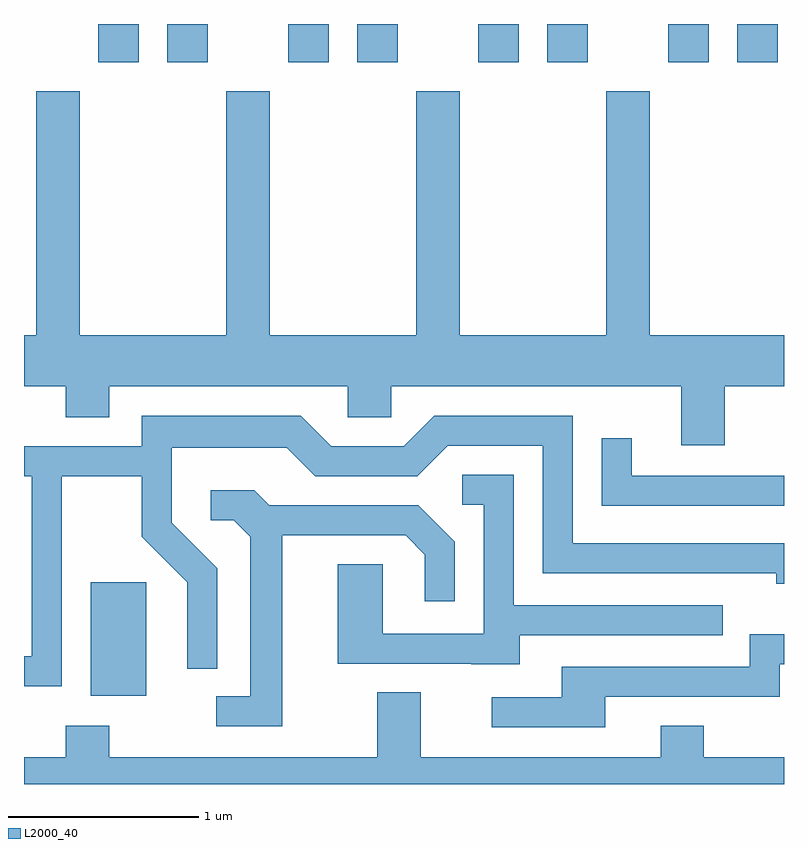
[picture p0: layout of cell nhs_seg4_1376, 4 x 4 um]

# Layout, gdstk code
import gdstk
lib = gdstk.Library(unit=1e-6, precision=1e-09)
def R(c, l, rs):  # rectangles x0, y0, x1, y1
    for r in rs: c.add(gdstk.rectangle(r[:2], r[2:], *l))
def P(c, l, *ps):  # polygons
    for p in ps: c.add(gdstk.Polygon(p, *l))
L2000_40 = (2000, 40)

nhs_seg4_1376 = lib.new_cell('nhs_seg4_1376')
R(nhs_seg4_1376, L2000_40, [(225.961,1286.446,226.254,1287.044), (226.001,1289.781,226.214,1289.982), (226.366,1289.781,226.579,1289.982), (227.001,1289.781,227.214,1289.982), (227.366,1289.781,227.579,1289.982), (228.001,1289.781,228.214,1289.982), (228.366,1289.781,228.579,1289.982), (229.001,1289.781,229.214,1289.982), (229.366,1289.781,229.579,1289.982)])
P(nhs_seg4_1376, L2000_40, [(229.299,1288.076),(229.611,1288.076),(229.611,1288.344),(228.904,1288.344),(228.904,1289.629),(228.676,1289.629),(228.676,1288.344),(227.904,1288.344),(227.904,1289.629),(227.676,1289.629),(227.676,1288.344),(226.904,1288.344),(226.904,1289.629),(226.676,1289.629),(226.676,1288.344),(225.904,1288.344),(225.904,1289.629),(225.676,1289.629),(225.676,1288.344),(225.611,1288.344),(225.611,1288.076),(225.831,1288.076),(225.831,1287.911),(226.059,1287.911),(226.059,1288.076),(227.316,1288.076),(227.316,1287.911),(227.544,1287.911),(227.544,1288.076),(229.071,1288.076),(229.071,1287.766),(229.299,1287.766)],
  [(225.809,1287.601),(226.231,1287.601),(226.231,1287.284),(226.471,1287.044),(226.471,1286.588),(226.629,1286.588),(226.629,1287.117),(226.389,1287.357),(226.389,1287.751),(226.994,1287.751),(227.144,1287.601),(227.682,1287.601),(227.842,1287.761),(228.341,1287.761),(228.341,1287.091),(229.571,1287.091),(229.571,1287.036),(229.611,1287.036),(229.611,1287.249),(228.499,1287.249),(228.499,1287.919),(227.769,1287.919),(227.609,1287.759),(227.227,1287.759),(227.067,1287.919),(226.231,1287.919),(226.231,1287.759),(225.611,1287.759),(225.611,1287.601),(225.651,1287.601),(225.651,1286.654),(225.611,1286.654),(225.611,1286.496),(225.809,1286.496)],
  [(229.611,1287.604),(228.809,1287.604),(228.809,1287.803),(228.651,1287.803),(228.651,1287.446),(229.611,1287.446)],
  [(228.219,1286.766),(229.288,1286.766),(229.288,1286.924),(228.189,1286.924),(228.189,1287.609),(227.918,1287.609),(227.918,1287.451),(228.031,1287.451),(228.031,1286.774),(227.499,1286.774),(227.499,1287.139),(227.261,1287.139),(227.261,1286.616),(227.965,1286.616),(227.965,1286.611),(228.219,1286.611)],
  [(226.969,1287.291),(227.619,1287.291),(227.721,1287.189),(227.721,1286.943),(227.879,1286.943),(227.879,1287.257),(227.687,1287.449),(226.902,1287.449),(226.822,1287.529),(226.593,1287.529),(226.593,1287.371),(226.714,1287.371),(226.801,1287.284),(226.801,1286.444),(226.623,1286.444),(226.623,1286.286),(226.969,1286.286)],
  [(228.669,1286.441),(229.589,1286.441),(229.589,1286.611),(229.611,1286.611),(229.611,1286.769),(229.431,1286.769),(229.431,1286.599),(228.441,1286.599),(228.441,1286.439),(228.073,1286.439),(228.073,1286.281),(228.669,1286.281)],
  [(229.611,1286.124),(229.189,1286.124),(229.189,1286.289),(228.961,1286.289),(228.961,1286.124),(227.699,1286.124),(227.699,1286.464),(227.471,1286.464),(227.471,1286.124),(226.059,1286.124),(226.059,1286.289),(225.831,1286.289),(225.831,1286.124),(225.611,1286.124),(225.611,1285.982),(229.611,1285.982)])

lib.write_gds('nhs_seg4_1376.gds')
